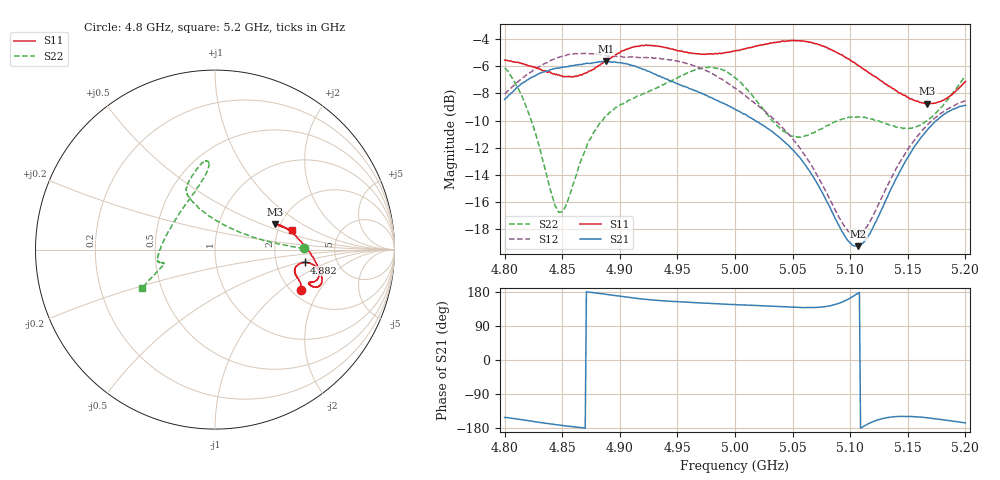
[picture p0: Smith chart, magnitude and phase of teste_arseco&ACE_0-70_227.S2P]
! Network Analyzer HP8722D
! Hewlett-Packard
! Data name: Linha & Wilkinson
! Saver's name: Rodrigo Anjos
! Comments: Teste da utilização de aquisição
! continua pelo VNA HP8722D
! Time and date: 8/5/2025 14:39
!  Frequency  S11  S21  S12  S22
# HZ  S  MA R 50
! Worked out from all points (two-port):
!   401 points, 4.8 GHz to 5.2 GHz, reference 50 ohm
!   highest |S21| = -5.64 dB at 4.888 GHz (marker M1); lowest = -19.2 dB at 5.107 GHz (marker M2)
!   |S21| within 3 dB of the highest: start of sweep to 4.987 GHz
!   lowest |S11| = -8.8 dB at 5.167 GHz (marker M3), VSWR 2.15, Z = 94 + j30.7 ohm
!   |S11| at or under -10 dB: nowhere
!   |S22| runs from -16.8 to -6.0 dB; largest |S21 - S12| = 1.1
!   S11 on the Smith chart (normalised r, x): 4.8 GHz: 2.23, -1.38; 4.882 GHz: 2.92, -0.56; 5.2 GHz: 2.36, +0.65
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4.8e9  0.5269 -25.1  0.3778 -151.7  0.396 8.1  0.4935 0.7
4.82e9  0.5035 -20.6  0.4462 -159.5  0.4684 5.0  0.3448 5.9
4.846e9  0.4654 -16.5  0.4928 -171.2  0.5388 0.8  0.1484 53.3
4.853e9  0.4586 -14.8  0.4982 -174.0  0.5486 -0.3  0.1531 80.4
4.867e9  0.4644 -11.0  0.5082 -178.8  0.5578 -2.4  0.2294 108.7
4.882e9  0.5046 -8.2  0.5213 175.8  0.5537 -3.3  0.3062 115.6
4.888e9  0.5227 -8.1  0.5222 173.3  0.55 -3.6  0.3275 116.4
4.912e9  0.589 -11.4  0.5027 163.6  0.5398 -2.8  0.382 114.5
4.934e9  0.5918 -16.5  0.4606 156.9  0.5363 -3.6  0.4197 108.8
4.975e9  0.5547 -19.7  0.3922 149.7  0.4826 -7.1  0.4961 96.2
5e9  0.5705 -20.5  0.3478 146.2  0.4167 -7.1  0.4543 94.8
5.041e9  0.6197 -18.8  0.2688 140.7  0.2986 0.7  0.2916 128.0
5.054e9  0.622 -16.9  0.236 138.8  0.2579 4.0  0.2747 147.3
5.067e9  0.6115 -14.0  0.1993 138.4  0.2141 8.7  0.2845 165.0
5.094e9  0.5463 -4.2  0.1218 154.2  0.1311 34.1  0.3208 -173.1
5.107e9  0.5042 1.8  0.1091 176.4  0.1198 59.2  0.3259 -168.6
5.117e9  0.4722 6.8  0.1209 -166.3  0.1342 77.7  0.3224 -167.5
5.134e9  0.4225 15.1  0.1717 -151.2  0.1881 94.3  0.3045 -166.5
5.151e9  0.3825 21.3  0.2353 -149.0  0.2519 99.4  0.2952 -164.5
5.167e9  0.3645 22.9  0.292 -152.6  0.3042 100.1  0.3163 -161.6
5.183e9  0.3804 20.5  0.3356 -158.8  0.3459 100.1  0.3701 -157.4
5.2e9  0.4404 14.5  0.3596 -166.0  0.3739 100.6  0.4617 -152.0
